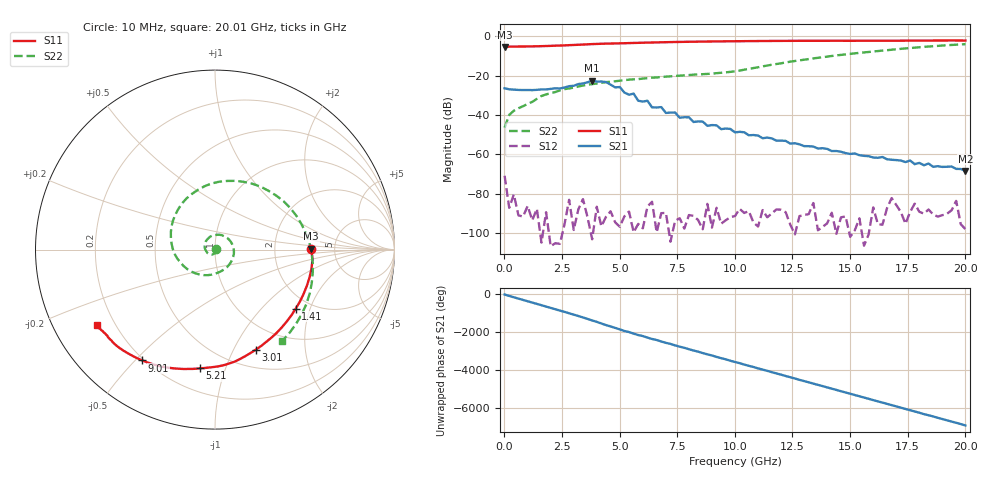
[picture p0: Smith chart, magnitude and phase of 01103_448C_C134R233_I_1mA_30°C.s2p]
!;Filter: kein Filter
!auto
!3/21/2019 9:26:39 AM
!3/21/2019 9:26:51 AM
!SP-Measurements Prober G4
!SP-Measurements Prober G4
!01103_448C
!134
!233
!12
!30
!-20
!0.00099996
!1.65
!0.05816927
!0.05816927
# Hz S  RI  R 50
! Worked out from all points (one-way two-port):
!   101 points, 10 MHz to 20.01 GHz, reference 50 ohm
!   highest |S21| = -22.58 dB at 3.81 GHz (marker M1); lowest = -68.5 dB at 20.01 GHz (marker M2)
!   lowest |S11| = -5.4 dB at 10 MHz (marker M3), VSWR 3.31, Z = 165 + j2.03 ohm
!   |S11| at or under -10 dB: nowhere
!   |S22| runs from -46.5 to -4.0 dB; largest |S21 - S12| = 0.074
!   S11 on the Smith chart (normalised r, x): 10 MHz: 3.31, +0.04; 1.41 GHz: 1.68, -1.60; 3.01 GHz: 0.70, -1.23; 5.21 GHz: 0.35, -0.82; 9.01 GHz: 0.19, -0.52; 20.01 GHz: 0.13, -0.29
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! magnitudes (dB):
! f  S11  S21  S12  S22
! 10 MHz  -5.4  -26.5  -70.9  -46.5
! 210 MHz  -5.3  -26.9  -87.2  -40.0
! 1.41 GHz  -5.1  -27.2  -87.7  -31.8
! 3.01 GHz  -4.4  -25.2  -98.5  -26.1
! 3.41 GHz  -4.2  -24.0  -82.8  -25.0
! 3.81 GHz  -4.0  -22.6  -103.2  -24.3
! 5.01 GHz  -3.6  -25.8  -96.9  -22.6
! 5.21 GHz  -3.5  -28.6  -91.5  -22.3
! 5.61 GHz  -3.4  -29.1  -99.6  -21.9
! 5.81 GHz  -3.3  -32.8  -95.4  -21.8
! 6.21 GHz  -3.2  -32.8  -86.5  -21.3
! 6.41 GHz  -3.2  -36.1  -84.1  -21.0
! 6.81 GHz  -3.0  -36.0  -89.9  -20.7
! 7.01 GHz  -3.0  -39.0  -89.8  -20.5
! 7.41 GHz  -2.9  -38.8  -93.8  -20.1
! 7.61 GHz  -2.9  -41.4  -92.5  -20.0
! 8.01 GHz  -2.8  -41.2  -90.9  -19.7
! 9.01 GHz  -2.6  -45.1  -97.3  -19.0
! 10.01 GHz  -2.5  -48.9  -91.4  -17.8
! 13.41 GHz  -2.3  -56.1  -84.8  -11.2
! 16.81 GHz  -2.2  -62.8  -82.3  -6.8
! 20.01 GHz  -2.2  -68.5  -98.1  -4.0
